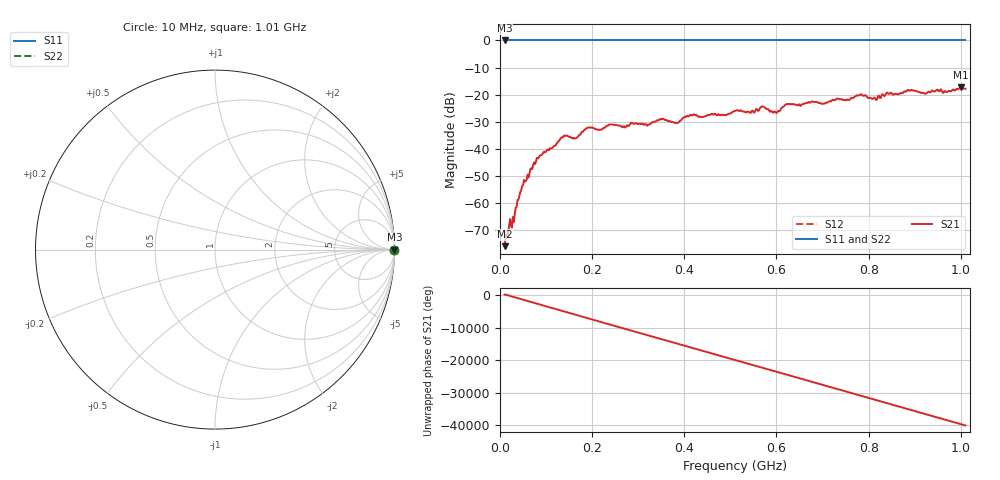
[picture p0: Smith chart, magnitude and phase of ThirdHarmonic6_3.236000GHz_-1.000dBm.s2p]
! 8/17/2025 9:55:19 AM
! C:\ANRITSUVNA\TEMP\TEMP.S2P
! CHANNEL.1
! TR.MEASUREMENT
! RAW.DATA
! RF.CORRECTION.OFF
! AVERAGING.OFF
! IF.BANDWIDTH: 5KHZ
! SWEEPTYPE:  FREQ.SWEEP(Linear)
! Reference Plane Port Info
! PORT:  PORT1  PORT2
! DISTANCE:  0  m  0  m
! TIME:  0  s  0  s
! PHASE.OFFSET:  0  deg.  0  deg.
! LOSS:  0  dB  0  dB
! REF.LOSS:  0  dB  0  dB
! REF.FREQ:  0  Hz  0  Hz
! Power Info
! POWER:  -20  dBm  -20  dBm
! EFF.POWER:  -20  dBm  -20  dBm
! SOURCE.ATTEN:  0  dB  0  dB
! TEST.ATTEN:  0  dB  0  dB
# GHZ S RI R 50.0
! FREQ.GHZ  S11RE  S11IM  S21RE  S21IM  S12RE  S12IM  S22RE  S22IM
!; PortSelection: Port_12
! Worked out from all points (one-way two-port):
!   501 points, 10 MHz to 1.01 GHz, reference 50 ohm
!   highest |S21| = -17.34 dB at 1 GHz (marker M1); lowest = -76.0 dB at 10 MHz (marker M2)
!   lowest |S11| = 0.0 dB at 10 MHz (marker M3)
!   |S11| at or under -10 dB: nowhere
!   |S22| runs from 0.0 to 0.0 dB; largest |S21 - S12| = 1.1
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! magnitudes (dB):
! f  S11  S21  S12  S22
! 10 MHz  0.0  -76.0  0.0  0.0
! 28 MHz  0.0  -65.2  0.0  0.0
! 48 MHz  0.0  -53.8  0.0  0.0
! 78 MHz  0.0  -44.8  0.0  0.0
! 136 MHz  0.0  -35.8  0.0  0.0
! 162 MHz  0.0  -36.2  0.0  0.0
! 178 MHz  0.0  -33.7  0.0  0.0
! 192 MHz  0.0  -32.1  0.0  0.0
! 322 MHz  0.0  -31.1  0.0  0.0
! 344 MHz  0.0  -29.5  0.0  0.0
! 384 MHz  0.0  -30.5  0.0  0.0
! 416 MHz  0.0  -27.7  0.0  0.0
! 510 MHz  0.0  -26.1  0.0  0.0
! 570 MHz  0.0  -24.3  0.0  0.0
! 596 MHz  0.0  -26.2  0.0  0.0
! 624 MHz  0.0  -23.5  0.0  0.0
! 678 MHz  0.0  -22.5  0.0  0.0
! 780 MHz  0.0  -20.3  0.0  0.0
! 814 MHz  0.0  -21.3  0.0  0.0
! 844 MHz  0.0  -19.8  0.0  0.0
! 1 GHz  0.0  -17.3  0.0  0.0
! 1.01 GHz  0.0  -17.8  0.0  0.0
